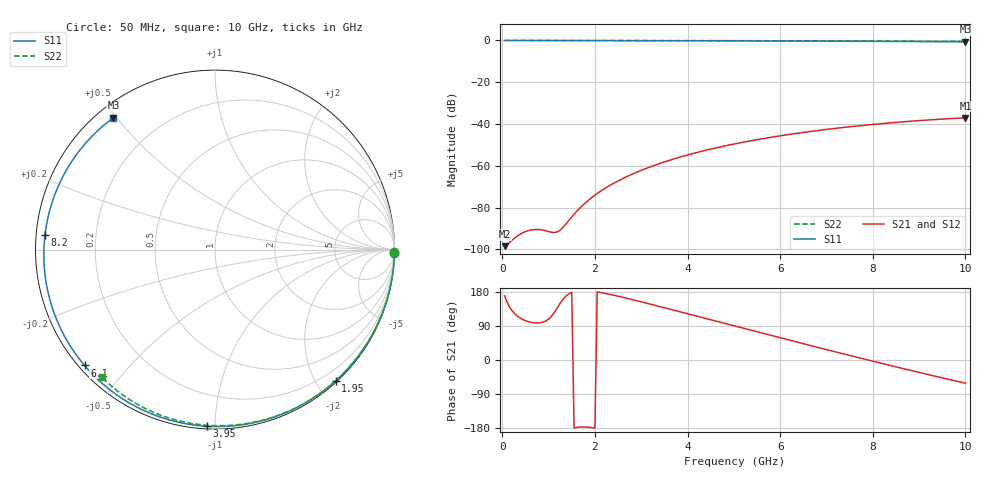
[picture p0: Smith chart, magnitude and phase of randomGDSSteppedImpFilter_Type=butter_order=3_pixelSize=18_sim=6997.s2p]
! freq	dB(S11)	phase(S11)	dB(S12)	phase(S12)
!  dB(S21)	phase(S21)	dB(S22)	phase(S22)
!S-par simulation data
#  GHz  S  DB  R 50
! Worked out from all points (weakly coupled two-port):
!   200 points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, 50 MHz to 10 GHz, reference 50 ohm
!   highest |S21| = -37.06 dB at 10 GHz (marker M1); lowest = -98.5 dB at 50 MHz (marker M2)
!   lowest |S11| = -0.7 dB at 10 GHz (marker M3), VSWR 26.62, Z = 2.33 + j24.6 ohm
!   |S11| at or under -10 dB: nowhere
!   |S22| runs from -0.4 to 0.0 dB; largest |S21 - S12| = 0
!   S11 on the Smith chart (normalised r, x): 50 MHz: 0, -92; 1.95 GHz: 0.02, -2.28; 3.95 GHz: 0.01, -0.96; 6.1 GHz: 0.02, -0.38; 8.2 GHz: 0.03, +0.04; 10 GHz: 0.05, +0.49
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0.05  -0.00 -1.2  -98.50 169.7  -98.50 169.7  -0.00 -0.8
0.8  -0.02 -19.8  -90.56 97.9  -90.56 97.9  -0.01 -12.1
1.65  -0.05 -40.3  -80.79 -177.1  -80.79 -177.1  -0.03 -24.7
1.7  -0.05 -41.5  -79.69 -176.7  -79.69 -176.7  -0.03 -25.5
1.75  -0.05 -42.6  -78.64 -176.6  -78.64 -176.6  -0.03 -26.2
1.95  -0.06 -47.4  -74.91 -178.5  -74.91 -178.5  -0.04 -29.1
2.25  -0.07 -54.4  -70.37 175.1  -70.37 175.1  -0.04 -33.5
2.6  -0.08 -62.5  -66.13 165.5  -66.13 165.5  -0.05 -38.6
3  -0.09 -71.6  -62.19 153.5  -62.19 153.5  -0.06 -44.3
3.4  -0.11 -80.5  -58.91 141.0  -58.91 141.0  -0.07 -49.9
3.95  -0.13 -92.6  -55.15 123.6  -55.15 123.6  -0.08 -57.5
4.5  -0.15 -104.5  -52.02 106.0  -52.02 106.0  -0.09 -64.9
5.05  -0.18 -116.2  -49.38 88.5  -49.38 88.5  -0.11 -72.2
6.1  -0.25 -138.4  -45.31 55.3  -45.31 55.3  -0.15 -85.7
6.7  -0.29 -151.2  -43.44 36.6  -43.44 36.6  -0.18 -93.1
7.45  -0.36 -167.7  -41.45 13.5  -41.45 13.5  -0.22 -102.1
8.2  -0.44 175.0  -39.80 -9.2  -39.80 -9.2  -0.28 -110.9
8.35  -0.46 171.4  -39.51 -13.7  -39.51 -13.7  -0.29 -112.7
8.8  -0.51 160.2  -38.70 -27.0  -38.70 -27.0  -0.33 -117.9
9.2  -0.56 149.9  -38.07 -38.6  -38.07 -38.6  -0.36 -122.4
9.6  -0.60 139.0  -37.53 -50.0  -37.53 -50.0  -0.40 -127.0
10  -0.65 127.6  -37.06 -61.2  -37.06 -61.2  -0.45 -131.5
